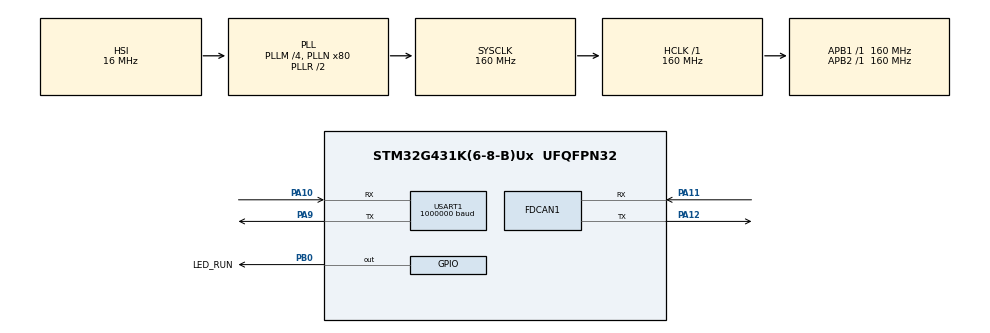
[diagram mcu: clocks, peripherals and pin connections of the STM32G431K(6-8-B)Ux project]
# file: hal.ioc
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Dma.Request0=USART1_RX
Dma.Request1=USART1_TX
Dma.USART1_RX.0.Direction=DMA_PERIPH_TO_MEMORY
Dma.USART1_RX.0.EventEnable=DISABLE
Dma.USART1_RX.0.Instance=DMA1_Channel1
Dma.USART1_RX.0.MemDataAlignment=DMA_MDATAALIGN_BYTE
Dma.USART1_RX.0.MemInc=DMA_MINC_ENABLE
Dma.USART1_RX.0.Mode=DMA_NORMAL
Dma.USART1_RX.0.PeriphDataAlignment=DMA_PDATAALIGN_BYTE
Dma.USART1_RX.0.PeriphInc=DMA_PINC_DISABLE
Dma.USART1_RX.0.Polarity=HAL_DMAMUX_REQ_GEN_RISING
Dma.USART1_RX.0.Priority=DMA_PRIORITY_LOW
Dma.USART1_RX.0.RequestNumber=1
Dma.USART1_RX.0.SignalID=NONE
Dma.USART1_RX.0.SyncEnable=DISABLE
Dma.USART1_RX.0.SyncPolarity=HAL_DMAMUX_SYNC_NO_EVENT
Dma.USART1_RX.0.SyncRequestNumber=1
Dma.USART1_RX.0.SyncSignalID=NONE
Dma.USART1_TX.1.Direction=DMA_MEMORY_TO_PERIPH
Dma.USART1_TX.1.EventEnable=DISABLE
Dma.USART1_TX.1.Instance=DMA1_Channel2
Dma.USART1_TX.1.MemDataAlignment=DMA_MDATAALIGN_BYTE
Dma.USART1_TX.1.MemInc=DMA_MINC_ENABLE
Dma.USART1_TX.1.Mode=DMA_NORMAL
Dma.USART1_TX.1.PeriphDataAlignment=DMA_PDATAALIGN_BYTE
Dma.USART1_TX.1.PeriphInc=DMA_PINC_DISABLE
Dma.USART1_TX.1.Polarity=HAL_DMAMUX_REQ_GEN_RISING
Dma.USART1_TX.1.Priority=DMA_PRIORITY_LOW
Dma.USART1_TX.1.RequestNumber=1
Dma.USART1_TX.1.SignalID=NONE
Dma.USART1_TX.1.SyncEnable=DISABLE
Dma.USART1_TX.1.SyncPolarity=HAL_DMAMUX_SYNC_NO_EVENT
Dma.USART1_TX.1.SyncRequestNumber=1
Dma.USART1_TX.1.SyncSignalID=NONE
FDCAN1.AutoRetransmission=ENABLE
FDCAN1.CalculateBaudRateNominal=1000000
FDCAN1.CalculateTimeBitNominal=1000
FDCAN1.CalculateTimeQuantumNominal=62.5
FDCAN1.ClockDivider=FDCAN_CLOCK_DIV1
FDCAN1.DataPrescaler=2
FDCAN1.DataSyncJumpWidth=4
FDCAN1.DataTimeSeg1=13
FDCAN1.DataTimeSeg2=2
FDCAN1.ExtFiltersNbr=2
FDCAN1.FrameFormat=FDCAN_FRAME_FD_BRS
FDCAN1.NominalPrescaler=10
FDCAN1.NominalSyncJumpWidth=4
FDCAN1.NominalTimeSeg1=13
FDCAN1.NominalTimeSeg2=2
FDCAN1.StdFiltersNbr=2
FDCAN1.TransmitPause=DISABLE
Mcu.Family=STM32G4
Mcu.Name=STM32G431K(6-8-B)Ux
Mcu.Package=UFQFPN32
NVIC.DMA1_Channel1_IRQn=true\:0\:0\:false\:false\:true\:false\:true\:true
NVIC.DMA1_Channel2_IRQn=true\:0\:0\:false\:false\:true\:false\:true\:true
NVIC.FDCAN1_IT0_IRQn=true\:5\:0\:true\:false\:true\:true\:true\:true
NVIC.FDCAN1_IT1_IRQn=true\:5\:0\:true\:false\:true\:true\:true\:true
NVIC.PriorityGroup=NVIC_PRIORITYGROUP_4
NVIC.TIM1_BRK_TIM15_IRQn=true\:15\:0\:true\:false\:true\:false\:true\:true
NVIC.TimeBase=TIM1_BRK_TIM15_IRQn
NVIC.TimeBaseIP=TIM15
NVIC.USART1_IRQn=true\:0\:0\:false\:false\:true\:true\:true\:true
PA10.Mode=Asynchronous
PA10.Signal=USART1_RX
PA11.Mode=FDCAN_Activate
PA11.Signal=FDCAN1_RX
PA12.Mode=FDCAN_Activate
PA12.Signal=FDCAN1_TX
PA13.Mode=Serial_Wire
PA13.Signal=SYS_JTMS-SWDIO
PA14.Mode=Serial_Wire
PA14.Signal=SYS_JTCK-SWCLK
PA9.Mode=Asynchronous
PA9.Signal=USART1_TX
PB0.GPIO_Label=LED_RUN
PB0.Signal=GPIO_Output
ProjectManager.HeapSize=0x200
ProjectManager.StackSize=0x400
ProjectManager.TargetToolchain=Makefile
RCC.ADC12Freq_Value=160000000
RCC.AHBFreq_Value=160000000
RCC.APB1Freq_Value=160000000
RCC.APB1TimFreq_Value=160000000
RCC.APB2Freq_Value=160000000
RCC.APB2TimFreq_Value=160000000
RCC.CortexFreq_Value=160000000
RCC.EXTERNAL_CLOCK_VALUE=12288000
RCC.HCLKFreq_Value=160000000
RCC.HSE_VALUE=8000000
RCC.HSI48_VALUE=48000000
RCC.HSI_VALUE=16000000
RCC.LSE_VALUE=32768
RCC.PLLM=RCC_PLLM_DIV4
RCC.PLLN=80
RCC.SYSCLKFreq_VALUE=160000000
RCC.SYSCLKSource=RCC_SYSCLKSOURCE_PLLCLK
RCC.USBFreq_Value=160000000
RCC.VCOOutputFreq_Value=320000000
USART1.BaudRate=1000000
USART1.VirtualMode-Asynchronous=VM_ASYNC
VP_SYS_VS_DBSignals.Mode=DisableDeadBatterySignals
VP_SYS_VS_tim15.Mode=TIM15
board=custom

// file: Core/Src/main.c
/* USER CODE BEGIN Header */
/**
 ******************************************************************************
 * @file           : main.c
 * @brief          : Main program body
 ******************************************************************************
 * @attention
 *
 * Copyright (c) 2024 STMicroelectronics.
 * All rights reserved.
 *
 * This software is licensed under terms that can be found in the LICENSE file
 * in the root directory of this software component.
 * If no LICENSE file comes with this software, it is provided AS-IS.
 *
 ******************************************************************************
 */
/* USER CODE END Header */
#include "main.h"

/* USER CODE BEGIN Includes */
#include <math.h>
#include <string.h>

/* USER CODE END Includes */

/* USER CODE BEGIN PD */
#define IMU_DEVICE_ID (0x30)

#define M_PI 3.14159265358979323846
#define M_2PI 6.28318530717958647692

/* CAN Packet IDs */
#define CAN_PACK_ID_ACCL 0
#define CAN_PACK_ID_GYRO 1
#define CAN_PACK_ID_EULR 3
#define CAN_PACK_ID_QUAT 4

/* Encoder constants */
#define ENCODER_21_MAX_INT ((1u << 21) - 1)
/* USER CODE END PD */

FDCAN_HandleTypeDef hfdcan1;

UART_HandleTypeDef huart1;
DMA_HandleTypeDef hdma_usart1_rx;
DMA_HandleTypeDef hdma_usart1_tx;

/* USER CODE BEGIN PV */
typedef struct {
  FDCAN_RxHeaderTypeDef header;
  uint8_t data[64];
} can_raw_rx_t;

/* CANFD Data Structure - matches C++ DataCanfd struct */
typedef struct __attribute__((packed)) {
  uint64_t time : 48;
  uint64_t sync : 48;
  float quat[4]; /* w, x, y, z */
  float gyro[3]; /* x, y, z */
  float accl[3]; /* x, y, z */
  float eulr[3]; /* pitch, roll, yaw */
} CanfdData;

/* CAN Classic Data Structures */
typedef union {
  struct __attribute__((packed)) {
    int32_t data1 : 21;
    int32_t data2 : 21;
    int32_t data3 : 21;
    int32_t res : 1;
  };
  struct __attribute__((packed)) {
    uint32_t data1_unsigned : 21;
    uint32_t data2_unsigned : 21;
    uint32_t data3_unsigned : 21;
    uint32_t res_unsigned : 1;
  };
  uint8_t raw[8];
} CanData3;

typedef struct __attribute__((packed)) {
  union {
    int16_t data[4];
    uint16_t data_unsigned[4];
  };
} CanData4;

/* Decoded IMU Data */
typedef struct {
  struct {
    float x, y, z;
  } accl;
  struct {
    float x, y, z;
  } gyro;
  struct {
    float pitch, roll, yaw;
  } eulr;
  struct {
    float w, x, y, z;
  } quat;
  uint64_t timestamp;
  uint64_t sync_time;
} ImuData;

can_raw_rx_t rx_buff;
ImuData imu_data;
uint32_t pack_count = 0;

/* USER CODE END PV */

void SystemClock_Config(void);
static void MX_USART1_UART_Init(void);
/* USER CODE BEGIN PFP */
static float DecodeFloat21(uint32_t encoded, float min, float max);
static float DecodeInt16Normalized(int16_t value);
/* USER CODE END PFP */

/* USER CODE BEGIN 0 */
static const uint8_t CRC8_TAB[256] = {
    0x00, 0x5e, 0xbc, 0xe2, 0x61, 0x3f, 0xdd, 0x83, 0xc2, 0x9c, 0x7e, 0x20,
    0xa3, 0xfd, 0x1f, 0x41, 0x9d, 0xc3, 0x21, 0x7f, 0xfc, 0xa2, 0x40, 0x1e,
    0x5f, 0x01, 0xe3, 0xbd, 0x3e, 0x60, 0x82, 0xdc, 0x23, 0x7d, 0x9f, 0xc1,
    0x42, 0x1c, 0xfe, 0xa0, 0xe1, 0xbf, 0x5d, 0x03, 0x80, 0xde, 0x3c, 0x62,
    0xbe, 0xe0, 0x02, 0x5c, 0xdf, 0x81, 0x63, 0x3d, 0x7c, 0x22, 0xc0, 0x9e,
    0x1d, 0x43, 0xa1, 0xff, 0x46, 0x18, 0xfa, 0xa4, 0x27, 0x79, 0x9b, 0xc5,
    0x84, 0xda, 0x38, 0x66, 0xe5, 0xbb, 0x59, 0x07, 0xdb, 0x85, 0x67, 0x39,
    0xba, 0xe4, 0x06, 0x58, 0x19, 0x47, 0xa5, 0xfb, 0x78, 0x26, 0xc4, 0x9a,
    0x65, 0x3b, 0xd9, 0x87, 0x04, 0x5a, 0xb8, 0xe6, 0xa7, 0xf9, 0x1b, 0x45,
    0xc6, 0x98, 0x7a, 0x24, 0xf8, 0xa6, 0x44, 0x1a, 0x99, 0xc7, 0x25, 0x7b,
    0x3a, 0x64, 0x86, 0xd8, 0x5b, 0x05, 0xe7, 0xb9, 0x8c, 0xd2, 0x30, 0x6e,
    0xed, 0xb3, 0x51, 0x0f, 0x4e, 0x10, 0xf2, 0xac, 0x2f, 0x71, 0x93, 0xcd,
    0x11, 0x4f, 0xad, 0xf3, 0x70, 0x2e, 0xcc, 0x92, 0xd3, 0x8d, 0x6f, 0x31,
    0xb2, 0xec, 0x0e, 0x50, 0xaf, 0xf1, 0x13, 0x4d, 0xce, 0x90, 0x72, 0x2c,
    0x6d, 0x33, 0xd1, 0x8f, 0x0c, 0x52, 0xb0, 0xee, 0x32, 0x6c, 0x8e, 0xd0,
    0x53, 0x0d, 0xef, 0xb1, 0xf0, 0xae, 0x4c, 0x12, 0x91, 0xcf, 0x2d, 0x73,
    0xca, 0x94, 0x76, 0x28, 0xab, 0xf5, 0x17, 0x49, 0x08, 0x56, 0xb4, 0xea,
    0x69, 0x37, 0xd5, 0x8b, 0x57, 0x09, 0xeb, 0xb5, 0x36, 0x68, 0x8a, 0xd4,
    0x95, 0xcb, 0x29, 0x77, 0xf4, 0xaa, 0x48, 0x16, 0xe9, 0xb7, 0x55, 0x0b,
    0x88, 0xd6, 0x34, 0x6a, 0x2b, 0x75, 0x97, 0xc9, 0x4a, 0x14, 0xf6, 0xa8,
    0x74, 0x2a, 0xc8, 0x96, 0x15, 0x4b, 0xa9, 0xf7, 0xb6, 0xe8, 0x0a, 0x54,
    0xd7, 0x89, 0x6b, 0x35};

/**
 * @brief Calculate CRC8
 *
 * @param buf Data buffer
 * @param len Data length
 * @param crc Initial CRC
 * @return uint8_t Calculated CRC
 */
uint8_t CalculateCRC8(const uint8_t *buf, size_t len, uint8_t crc) {
  while (len-- > 0) {
    crc = CRC8_TAB[(crc ^ *buf++) & 0xff];
  }
  return crc;
}

/**
 * @brief Decode 21-bit unsigned integer to float
 * @param encoded 21-bit encoded value
 * @param min Minimum float value
 * @param max Maximum float value
 * @return Decoded float value
 */
static float DecodeFloat21(uint32_t encoded, float min, float max) {
  float norm =
      (float)(encoded & ENCODER_21_MAX_INT) / (float)ENCODER_21_MAX_INT;
  return min + norm * (max - min);
}

/**
 * @brief Decode int16 normalized value to float (for quaternion)
 * @param value int16 value
 * @return Normalized float [-1, 1]
 */
static float DecodeInt16Normalized(int16_t value) {
  return (float)value / (float)INT16_MAX;
}

/**
 * @brief Process CAN-FD packet
 */
static void ProcessCanfdPacket(uint8_t *data) {
  CanfdData *canfd_data = (CanfdData *)data;

  imu_data.timestamp = canfd_data->time;
  imu_data.sync_time = canfd_data->sync;

  /* Quaternion */
  imu_data.quat.w = canfd_data->quat[0];
  imu_data.quat.x = canfd_data->quat[1];
  imu_data.quat.y = canfd_data->quat[2];
  imu_data.quat.z = canfd_data->quat[3];

  /* Gyroscope */
  imu_data.gyro.x = canfd_data->gyro[0];
  imu_data.gyro.y = canfd_data->gyro[1];
  imu_data.gyro.z = canfd_data->gyro[2];

  /* Accelerometer */
  imu_data.accl.x = canfd_data->accl[0];
  imu_data.accl.y = canfd_data->accl[1];
  imu_data.accl.z = canfd_data->accl[2];

  /* Euler angles */
  imu_data.eulr.pitch = canfd_data->eulr[0];
  imu_data.eulr.roll = canfd_data->eulr[1];
  imu_data.eulr.yaw = canfd_data->eulr[2];
}

/**
 * @brief Process Classic CAN packet
 */
static void ProcessClassicCanPacket(uint32_t id, uint8_t *data) {
  uint32_t packet_type = id - IMU_DEVICE_ID;

  switch (packet_type) {
  case CAN_PACK_ID_ACCL: {
    /* Accelerometer data: ±24g range */
    CanData3 *can_data = (CanData3 *)data;
    imu_data.accl.x = DecodeFloat21(can_data->data1_unsigned, -24.0f, 24.0f);
    imu_data.accl.y = DecodeFloat21(can_data->data2_unsigned, -24.0f, 24.0f);
    imu_data.accl.z = DecodeFloat21(can_data->data3_unsigned, -24.0f, 24.0f);
    break;
  }

  case CAN_PACK_ID_GYRO: {
    /* Gyroscope data: ±2000 deg/s converted to rad/s */
    CanData3 *can_data = (CanData3 *)data;
    float min_gyro = -2000.0f * M_PI / 180.0f;
    float max_gyro = 2000.0f * M_PI / 180.0f;
    imu_data.gyro.x =
        DecodeFloat21(can_data->data1_unsigned, min_gyro, max_gyro);
    imu_data.gyro.y =
        DecodeFloat21(can_data->data2_unsigned, min_gyro, max_gyro);
    imu_data.gyro.z =
        DecodeFloat21(can_data->data3_unsigned, min_gyro, max_gyro);
    break;
  }

  case CAN_PACK_ID_EULR: {
    /* Euler angles: ±π rad */
    CanData3 *can_data = (CanData3 *)data;
    imu_data.eulr.pitch = DecodeFloat21(can_data->data1_unsigned, -M_PI, M_PI);
    imu_data.eulr.roll = DecodeFloat21(can_data->data2_unsigned, -M_PI, M_PI);
    imu_data.eulr.yaw = DecodeFloat21(can_data->data3_unsigned, -M_PI, M_PI);
    break;
  }

  case CAN_PACK_ID_QUAT: {
    /* Quaternion data: normalized int16 */
    CanData4 *can_data = (CanData4 *)data;
    imu_data.quat.w = DecodeInt16Normalized(can_data->data[0]);
    imu_data.quat.x = DecodeInt16Normalized(can_data->data[1]);
    imu_data.quat.y = DecodeInt16Normalized(can_data->data[2]);
    imu_data.quat.z = DecodeInt16Normalized(can_data->data[3]);
    break;
  }

  default:
    /* Unknown packet type */
    break;
  }
}

void HAL_FDCAN_RxFifo0Callback(FDCAN_HandleTypeDef *hcan, uint32_t RxFifo0ITs) {
  (void)RxFifo0ITs;
  while (HAL_FDCAN_GetRxMessage(hcan, FDCAN_RX_FIFO0, &rx_buff.header,
                                rx_buff.data) == HAL_OK) {
    pack_count++;

    if (rx_buff.header.FDFormat == FDCAN_FD_CAN) {
      /* CAN-FD packet */
      if (rx_buff.header.Identifier == IMU_DEVICE_ID &&
          rx_buff.header.DataLength == FDCAN_DLC_BYTES_64) {
        ProcessCanfdPacket(rx_buff.data);
      }
    } else {
      /* Classic CAN packet */
      ProcessClassicCanPacket(rx_buff.header.Identifier, rx_buff.data);
    }
  }
}
/* USER CODE END 0 */

int main(void)
{

  /* MCU Configuration--------------------------------------------------------*/

  /* Reset of all peripherals, Initializes the Flash interface and the Systick. */
  HAL_Init();

  /* Configure the system clock */
  SystemClock_Config();

  /* Initialize all configured peripherals */
  MX_GPIO_Init();
  MX_DMA_Init();
  MX_FDCAN1_Init();
  MX_USART1_UART_Init();
  /* USER CODE BEGIN 2 */
  FDCAN_FilterTypeDef can_filter = {0};

  /* Configure standard ID filter */
  can_filter.IdType = FDCAN_STANDARD_ID;
  can_filter.FilterIndex = 0;
  can_filter.FilterType = FDCAN_FILTER_MASK;
  can_filter.FilterConfig = FDCAN_FILTER_TO_RXFIFO0;
  can_filter.FilterID1 = 0x0000;
  can_filter.FilterID2 = 0x0000;
  if (HAL_FDCAN_ConfigFilter(&hfdcan1, &can_filter) != HAL_OK) {
    Error_Handler();
  }

  /* Configure extended ID filter */
  can_filter.IdType = FDCAN_EXTENDED_ID;
  can_filter.FilterIndex = 1;
  can_filter.FilterType = FDCAN_FILTER_MASK;
  can_filter.FilterConfig = FDCAN_FILTER_TO_RXFIFO0;
  can_filter.FilterID1 = 0x0000;
  can_filter.FilterID2 = 0x0000;
  if (HAL_FDCAN_ConfigFilter(&hfdcan1, &can_filter) != HAL_OK) {
    Error_Handler();
  }

  /* Start FDCAN */
  HAL_FDCAN_Start(&hfdcan1);
  HAL_FDCAN_ActivateNotification(&hfdcan1, FDCAN_IT_RX_FIFO0_NEW_MESSAGE, 0);

  /* Initialize IMU data structure */
  memset(&imu_data, 0, sizeof(imu_data));
  imu_data.quat.w = 1.0f; /* Initialize quaternion to identity */

  /* USER CODE END 2 */

  /* Infinite loop */
  /* USER CODE BEGIN WHILE */
  while (1) {
    HAL_GPIO_TogglePin(GPIOB, GPIO_PIN_0);

    /* 在这里可以使用解析后的IMU数据 */
    /* Use decoded IMU data here */
    /*
     * imu_data.gyro.x/y/z - 陀螺仪数据 (rad/s)
     * imu_data.accl.x/y/z - 加速度计数据 (g)
     * imu_data.quat.w/x/y/z - 四元数
     * imu_data.eulr.pitch/roll/yaw - 欧拉角 (rad)
     * imu_data.timestamp - 时间戳
     * imu_data.sync_time - 同步时间
     */

    HAL_Delay(100);
    /* USER CODE END WHILE */

  }
}

void SystemClock_Config(void)
{
  RCC_OscInitTypeDef RCC_OscInitStruct = {0};
  RCC_ClkInitTypeDef RCC_ClkInitStruct = {0};

  /** Configure the main internal regulator output voltage
  */
  HAL_PWREx_ControlVoltageScaling(PWR_REGULATOR_VOLTAGE_SCALE1_BOOST);

  /** Initializes the RCC Oscillators according to the specified parameters
  * in the RCC_OscInitTypeDef structure.
  */
  RCC_OscInitStruct.OscillatorType = RCC_OSCILLATORTYPE_HSI;
  RCC_OscInitStruct.HSIState = RCC_HSI_ON;
  RCC_OscInitStruct.HSICalibrationValue = RCC_HSICALIBRATION_DEFAULT;
  RCC_OscInitStruct.PLL.PLLState = RCC_PLL_ON;
  RCC_OscInitStruct.PLL.PLLSource = RCC_PLLSOURCE_HSI;
  RCC_OscInitStruct.PLL.PLLM = RCC_PLLM_DIV4;
  RCC_OscInitStruct.PLL.PLLN = 80;
  RCC_OscInitStruct.PLL.PLLP = RCC_PLLP_DIV2;
  RCC_OscInitStruct.PLL.PLLQ = RCC_PLLQ_DIV2;
  RCC_OscInitStruct.PLL.PLLR = RCC_PLLR_DIV2;
  if (HAL_RCC_OscConfig(&RCC_OscInitStruct) != HAL_OK)
  {
    Error_Handler();
  }

  /** Initializes the CPU, AHB and APB buses clocks
  */
  RCC_ClkInitStruct.ClockType = RCC_CLOCKTYPE_HCLK|RCC_CLOCKTYPE_SYSCLK
                              |RCC_CLOCKTYPE_PCLK1|RCC_CLOCKTYPE_PCLK2;
  RCC_ClkInitStruct.SYSCLKSource = RCC_SYSCLKSOURCE_PLLCLK;
  RCC_ClkInitStruct.AHBCLKDivider = RCC_SYSCLK_DIV1;
  RCC_ClkInitStruct.APB1CLKDivider = RCC_HCLK_DIV1;
  RCC_ClkInitStruct.APB2CLKDivider = RCC_HCLK_DIV1;

  if (HAL_RCC_ClockConfig(&RCC_ClkInitStruct, FLASH_LATENCY_4) != HAL_OK)
  {
    Error_Handler();
  }
}

void MX_FDCAN1_Init(void)
{

  hfdcan1.Instance = FDCAN1;
  hfdcan1.Init.ClockDivider = FDCAN_CLOCK_DIV1;
  hfdcan1.Init.FrameFormat = FDCAN_FRAME_FD_BRS;
  hfdcan1.Init.Mode = FDCAN_MODE_NORMAL;
  hfdcan1.Init.AutoRetransmission = ENABLE;
  hfdcan1.Init.TransmitPause = DISABLE;
  hfdcan1.Init.ProtocolException = DISABLE;
  hfdcan1.Init.NominalPrescaler = 10;
  hfdcan1.Init.NominalSyncJumpWidth = 4;
  hfdcan1.Init.NominalTimeSeg1 = 13;
  hfdcan1.Init.NominalTimeSeg2 = 2;
  hfdcan1.Init.DataPrescaler = 2;
  hfdcan1.Init.DataSyncJumpWidth = 4;
  hfdcan1.Init.DataTimeSeg1 = 13;
  hfdcan1.Init.DataTimeSeg2 = 2;
  hfdcan1.Init.StdFiltersNbr = 2;
  hfdcan1.Init.ExtFiltersNbr = 2;
  hfdcan1.Init.TxFifoQueueMode = FDCAN_TX_FIFO_OPERATION;
  if (HAL_FDCAN_Init(&hfdcan1) != HAL_OK)
  {
    Error_Handler();
  }

}

static void MX_USART1_UART_Init(void)
{

  huart1.Instance = USART1;
  huart1.Init.BaudRate = 1000000;
  huart1.Init.WordLength = UART_WORDLENGTH_8B;
  huart1.Init.StopBits = UART_STOPBITS_1;
  huart1.Init.Parity = UART_PARITY_NONE;
  huart1.Init.Mode = UART_MODE_TX_RX;
  huart1.Init.HwFlowCtl = UART_HWCONTROL_NONE;
  huart1.Init.OverSampling = UART_OVERSAMPLING_16;
  huart1.Init.OneBitSampling = UART_ONE_BIT_SAMPLE_DISABLE;
  huart1.Init.ClockPrescaler = UART_PRESCALER_DIV1;
  huart1.AdvancedInit.AdvFeatureInit = UART_ADVFEATURE_NO_INIT;
  if (HAL_UART_Init(&huart1) != HAL_OK)
  {
    Error_Handler();
  }
  if (HAL_UARTEx_SetTxFifoThreshold(&huart1, UART_TXFIFO_THRESHOLD_1_8) != HAL_OK)
  {
    Error_Handler();
  }
  if (HAL_UARTEx_SetRxFifoThreshold(&huart1, UART_RXFIFO_THRESHOLD_1_8) != HAL_OK)
  {
    Error_Handler();
  }
  if (HAL_UARTEx_DisableFifoMode(&huart1) != HAL_OK)
  {
    Error_Handler();
  }

}

void MX_DMA_Init(void)
{

  /* DMA controller clock enable */
  __HAL_RCC_DMAMUX1_CLK_ENABLE();
  __HAL_RCC_DMA1_CLK_ENABLE();

  /* DMA interrupt init */
  /* DMA1_Channel1_IRQn interrupt configuration */
  HAL_NVIC_SetPriority(DMA1_Channel1_IRQn, 0, 0);
  HAL_NVIC_EnableIRQ(DMA1_Channel1_IRQn);
  /* DMA1_Channel2_IRQn interrupt configuration */
  HAL_NVIC_SetPriority(DMA1_Channel2_IRQn, 0, 0);
  HAL_NVIC_EnableIRQ(DMA1_Channel2_IRQn);

}

void MX_GPIO_Init(void)
{
  GPIO_InitTypeDef GPIO_InitStruct = {0};

  /* GPIO Ports Clock Enable */
  __HAL_RCC_GPIOB_CLK_ENABLE();
  __HAL_RCC_GPIOA_CLK_ENABLE();

  /*Configure GPIO pin Output Level */
  HAL_GPIO_WritePin(LED_RUN_GPIO_Port, LED_RUN_Pin, GPIO_PIN_RESET);

  /*Configure GPIO pin : LED_RUN_Pin */
  GPIO_InitStruct.Pin = LED_RUN_Pin;
  GPIO_InitStruct.Mode = GPIO_MODE_OUTPUT_PP;
  GPIO_InitStruct.Pull = GPIO_NOPULL;
  GPIO_InitStruct.Speed = GPIO_SPEED_FREQ_LOW;
  HAL_GPIO_Init(LED_RUN_GPIO_Port, &GPIO_InitStruct);

}

void HAL_TIM_PeriodElapsedCallback(TIM_HandleTypeDef *htim)
{
  if (htim->Instance == TIM15)
  {
    HAL_IncTick();
  }
}

void Error_Handler(void)
{
  __disable_irq();
  while (1) {
  }
}
#ifdef USE_FULL_ASSERT
/**
  * @brief  Reports the name of the source file and the source line number
  *         where the assert_param error has occurred.
  * @param  file: pointer to the source file name
  * @param  line: assert_param error line source number
  * @retval None
  */
void assert_failed(uint8_t *file, uint32_t line)
{
  /* USER CODE BEGIN 6 */
  /* User can add his own implementation to report the file name and line
     number, ex: printf("Wrong parameters value: file %s on line %d\r\n", file,
     line) */
  /* USER CODE END 6 */
}
#endif /* USE_FULL_ASSERT */
